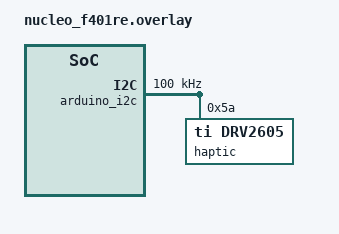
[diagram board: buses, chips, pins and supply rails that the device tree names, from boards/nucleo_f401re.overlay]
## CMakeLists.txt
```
# SPDX-License-Identifier: Apache-2.0

cmake_minimum_required(VERSION 3.20.0)

find_package(Zephyr REQUIRED HINTS $ENV{ZEPHYR_BASE})
project(drv2605)

FILE(GLOB app_sources src/*.c)
target_sources(app PRIVATE ${app_sources})
```

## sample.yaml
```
sample:
  name: DRV2605 Haptic Driver sample
tests:
  sample.haptics.drv2605:
    build_only: true
    tags: haptics
    platform_allow:
      - adafruit_qt_py_rp2040/rp2040
    extra_args:
      - platform:adafruit_qt_py_rp2040/rp2040:SHIELD="adafruit_drv2605l"
```

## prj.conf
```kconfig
CONFIG_LOG=y
CONFIG_HAPTICS=y
```

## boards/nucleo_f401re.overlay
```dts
/*
 * Copyright (c) 2024 Cirrus Logic, Inc.
 *
 * SPDX-License-Identifier: Apache-2.0
 */

#include <zephyr/dt-bindings/i2c/i2c.h>

&arduino_i2c {
	clock-frequency = <I2C_BITRATE_STANDARD>;
	status = "okay";

	haptic: drv2605@5a {
		compatible = "ti,drv2605";
		reg = <0x5a>;

		ti,actuator-mode = "LRA";
		ti,loop-gain = "HIGH";
		ti,feedback-brake-factor = "2X";
		status = "okay";
	};
};
```

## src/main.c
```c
/*
 * Copyright (c) 2024 Cirrus Logic, Inc.
 *
 * SPDX-License-Identifier: Apache-2.0
 */

#include <errno.h>

#include <zephyr/device.h>
#include <zephyr/devicetree.h>
#include <zephyr/kernel.h>
#include <zephyr/logging/log.h>
#include <zephyr/drivers/haptics.h>
#include <zephyr/drivers/haptics/drv2605.h>
#include <zephyr/sys/util.h>
#include <sys/_stdint.h>

#define LOG_LEVEL 4

LOG_MODULE_REGISTER(main);

static struct drv2605_rom_data rom_data = {
	.library = DRV2605_LIBRARY_LRA,
	.brake_time = 0,
	.overdrive_time = 0,
	.sustain_neg_time = 0,
	.sustain_pos_time = 0,
	.trigger = DRV2605_MODE_INTERNAL_TRIGGER,
	.seq_regs[0] = 1,
	.seq_regs[1] = DRV2605_WAVEFORM_SEQUENCER_WAIT_MS(100),
	.seq_regs[2] = 2,
	.seq_regs[3] = DRV2605_WAVEFORM_SEQUENCER_WAIT_MS(100),
	.seq_regs[4] = 3,
	.seq_regs[5] = DRV2605_WAVEFORM_SEQUENCER_WAIT_MS(100),
	.seq_regs[6] = 4,
};

int main(void)
{
	const struct device *dev = DEVICE_DT_GET(DT_NODELABEL(haptic));
	union drv2605_config_data config_data = {};

	int ret;

	if (!dev) {
		LOG_ERR("DRV2605 device not found");
		return -ENODEV;
	} else if (!device_is_ready(dev)) {
		LOG_ERR("DRV2605 device %s is not ready", dev->name);
		return -EIO;
	}

	LOG_INF("Found DRV2605 device %s", dev->name);

	config_data.rom_data = &rom_data;

	ret = drv2605_haptic_config(dev, DRV2605_HAPTICS_SOURCE_ROM, &config_data);
	if (ret < 0) {
		LOG_ERR("Failed to configure ROM event: %d", ret);
		return ret;
	}

	ret = haptics_start_output(dev);
	if (ret < 0) {
		LOG_ERR("Failed to start ROM event: %d", ret);
		return ret;
	}

	return 0;
}
```
